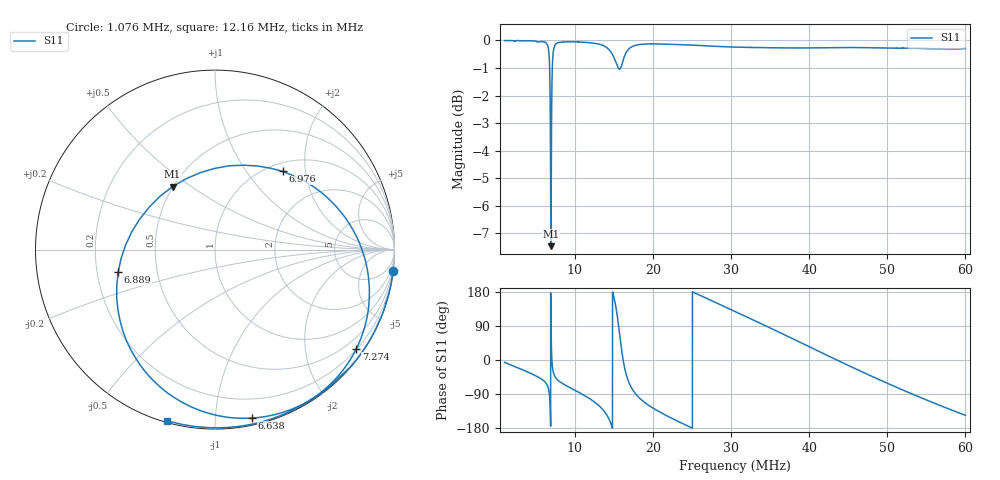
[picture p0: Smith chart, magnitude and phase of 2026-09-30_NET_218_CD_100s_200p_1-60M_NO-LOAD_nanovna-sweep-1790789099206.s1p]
! NanoVNA Web complex sweep
! Processing: unaveraged complex samples; linear segment spacing; no smoothing
# Hz S RI R 50
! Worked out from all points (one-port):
!   10100 points, 1 MHz to 60 MHz, reference 50 ohm
!   lowest |S11| = -7.5 dB at 6.93 MHz (marker M1), VSWR 2.47, Z = 24.8 + j21.3 ohm
!   |S11| at or under -10 dB: nowhere
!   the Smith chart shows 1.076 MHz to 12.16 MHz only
!   S11 on the Smith chart (normalised r, x): 1.076 MHz: 0, -16; 6.638 MHz: 0.05, -1.24; 6.889 MHz: 0.29, -0.10; 6.976 MHz: 1.15, +1.51; 7.274 MHz: 0.21, -3.14; 12.16 MHz: 0.01, -0.76
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1000000  0.9933 -0.1101
1075946  0.9924 -0.121
5580128  0.661 -0.7439
6310378  0.4757 -0.8683
6637530  0.205 -0.9386
6888736  -0.5393 -0.1244
6929630  -0.2363 0.351
6976366  0.3763 0.436
7274308  0.787 -0.5541
8378446  0.4716 -0.874
1.216406e7  -0.2683 -0.9527
1.384656e7  -0.7233 -0.6543
1.48397e7  -0.9404 0.0335
1.526032e7  -0.6801 0.6076
1.575105e7  0.3911 0.7964
1.627099e7  0.9122 -0.179
1.675003e7  0.6157 -0.7363
1.739265e7  0.1959 -0.9556
1.961845e7  -0.5221 -0.836
2.31295e7  -0.9306 -0.3165
2.666975e7  -0.9423 0.2614
3.05021e7  -0.5983 0.7668
3.42293e7  -0.0339 0.9696
3.78747e7  0.5389 0.8056
4.170121e7  0.9213 0.303
4.525315e7  0.9298 -0.279
5.262575e7  0.0873 -0.9643
5.999836e7  -0.8029 -0.5402
